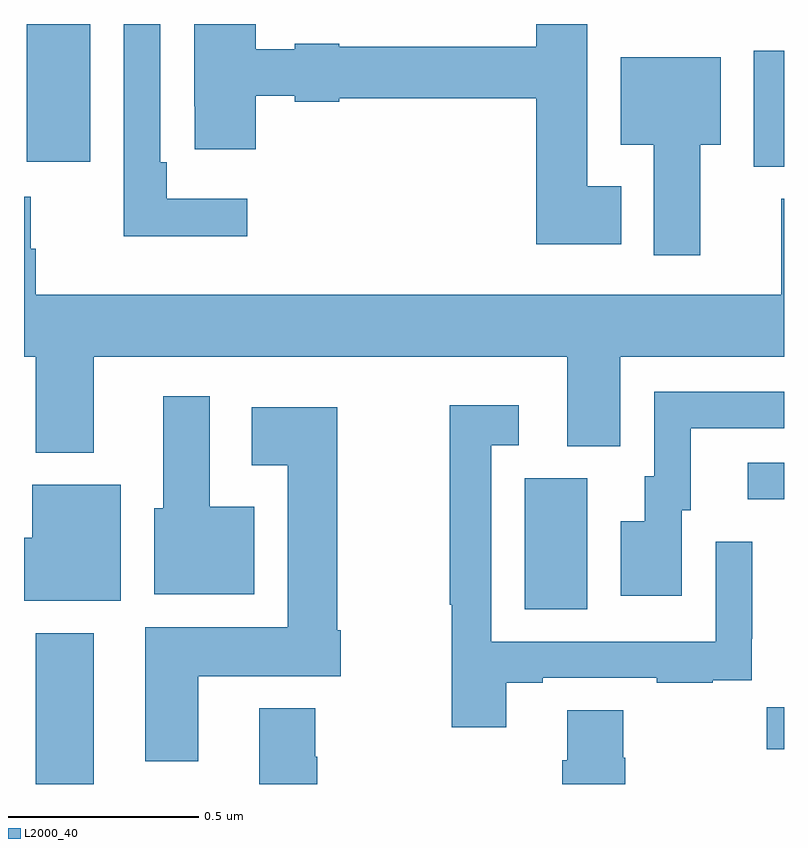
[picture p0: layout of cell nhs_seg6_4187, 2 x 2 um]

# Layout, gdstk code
import gdstk
lib = gdstk.Library(unit=1e-6, precision=1e-09)
def R(c, l, rs):  # rectangles x0, y0, x1, y1
    for r in rs: c.add(gdstk.rectangle(r[:2], r[2:], *l))
def P(c, l, *ps):  # polygons
    for p in ps: c.add(gdstk.Polygon(p, *l))
L2000_40 = (2000, 40)

nhs_seg6_4187 = lib.new_cell('nhs_seg6_4187')
R(nhs_seg6_4187, L2000_40, [(166.031,991.5,166.183,991.897), (167.955,991.592,168,991.702), (167.318,991.96,167.482,992.304), (167.904,992.25,168,992.346), (167.921,993.125,168,993.43), (166.007,993.138,166.174,993.5)])
P(nhs_seg6_4187, L2000_40, [(166.588,993.04),(166.375,993.04),(166.375,993.136),(166.359,993.136),(166.359,993.5),(166.263,993.5),(166.263,992.942),(166.588,992.942)],
  [(167.572,993.073),(167.482,993.073),(167.482,993.5),(167.348,993.5),(167.348,993.44),(166.83,993.44),(166.83,993.448),(166.712,993.448),(166.712,993.433),(166.61,993.433),(166.61,993.5),(166.448,993.5),(166.448,993.283),(166.449,993.283),(166.449,993.171),(166.61,993.171),(166.61,993.311),(166.712,993.311),(166.712,993.296),(166.83,993.296),(166.83,993.304),(167.348,993.304),(167.348,992.921),(167.572,992.921)],
  [(167.779,993.182),(167.833,993.182),(167.833,993.412),(167.57,993.412),(167.57,993.182),(167.657,993.182),(167.657,992.892),(167.779,992.892)],
  [(166.183,992.624),(167.429,992.624),(167.429,992.389),(167.569,992.389),(167.569,992.624),(168,992.624),(168,993.04),(167.993,993.04),(167.993,992.788),(166.031,992.788),(166.031,992.909),(166.018,992.909),(166.018,993.046),(166,993.046),(166,992.624),(166.031,992.624),(166.031,992.372),(166.183,992.372)],
  [(167.731,992.22),(167.755,992.22),(167.755,992.436),(168,992.436),(168,992.532),(167.658,992.532),(167.658,992.31),(167.633,992.31),(167.633,992.191),(167.57,992.191),(167.57,991.995),(167.731,991.995)],
  [(166.606,992.23),(166.489,992.23),(166.489,992.521),(166.367,992.521),(166.367,992.226),(166.343,992.226),(166.343,992),(166.606,992)],
  [(167.269,991.767),(167.365,991.767),(167.365,991.779),(167.665,991.779),(167.665,991.767),(167.813,991.767),(167.813,991.773),(167.915,991.773),(167.915,991.882),(167.916,991.882),(167.916,992.137),(167.82,992.137),(167.82,991.875),(167.229,991.875),(167.229,992.391),(167.302,992.391),(167.302,992.497),(167.121,992.497),(167.121,991.972),(167.125,991.972),(167.125,991.65),(167.269,991.65)],
  [(166.459,991.784),(166.834,991.784),(166.834,991.905),(166.824,991.905),(166.824,992.491),(166.599,992.491),(166.599,992.339),(166.694,992.339),(166.694,991.912),(166.319,991.912),(166.319,991.56),(166.459,991.56)],
  [(166.255,992.287),(166.022,992.287),(166.022,992.148),(166,992.148),(166,991.982),(166.255,991.982)],
  [(166.772,991.572),(166.767,991.572),(166.767,991.699),(166.619,991.699),(166.619,991.5),(166.772,991.5)],
  [(167.582,991.569),(167.577,991.569),(167.577,991.694),(167.429,991.694),(167.429,991.562),(167.417,991.562),(167.417,991.5),(167.582,991.5)])

lib.write_gds('nhs_seg6_4187.gds')
